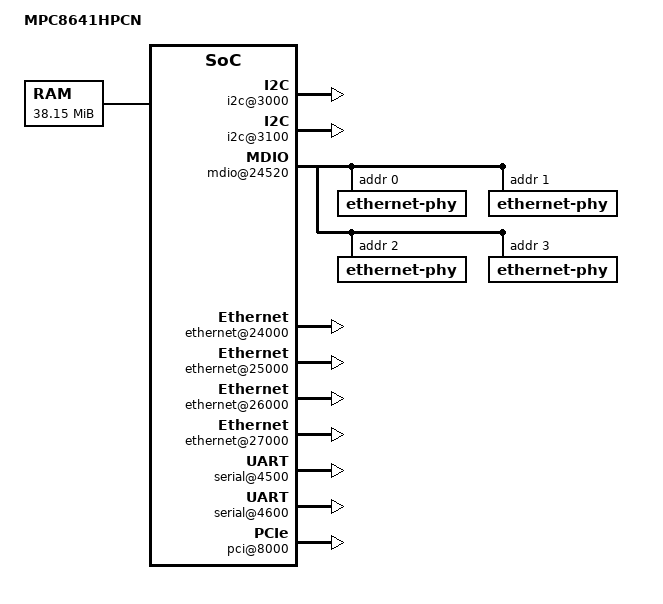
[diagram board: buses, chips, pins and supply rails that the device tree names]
/*
 * MPC8641 HPCN Device Tree Source
 *
 * Copyright 2006 Freescale Semiconductor Inc.
 *
 * This program is free software; you can redistribute  it and/or modify it
 * under  the terms of  the GNU General  Public License as published by the
 * Free Software Foundation;  either version 2 of the  License, or (at your
 * option) any later version.
 */


/ {
	model = "MPC8641HPCN";
	compatible = "mpc86xx";
	#address-cells = <1>;
	#size-cells = <1>;
	linux,phandle = <100>;

	cpus {
		#cpus = <2>;
		#address-cells = <1>;
		#size-cells = <0>;
		linux,phandle = <200>;

		PowerPC,8641@0 {
			device_type = "cpu";
			reg = <0>;
			d-cache-line-size = <20>;	// 32 bytes
			i-cache-line-size = <20>;	// 32 bytes
			d-cache-size = <8000>;		// L1, 32K
			i-cache-size = <8000>;		// L1, 32K
			timebase-frequency = <0>;	// 33 MHz, from uboot
			bus-frequency = <0>;		// From uboot
			clock-frequency = <0>;		// From uboot
			32-bit;
			linux,phandle = <201>;
			linux,boot-cpu;
		};
		PowerPC,8641@1 {
			device_type = "cpu";
			reg = <1>;
			d-cache-line-size = <20>;	// 32 bytes
			i-cache-line-size = <20>;	// 32 bytes
			d-cache-size = <8000>;		// L1, 32K
			i-cache-size = <8000>;		// L1, 32K
			timebase-frequency = <0>;	// 33 MHz, from uboot
			bus-frequency = <0>;		// From uboot
			clock-frequency = <0>;		// From uboot
			32-bit;
			linux,phandle = <202>;
		};
	};

	memory {
		device_type = "memory";
		linux,phandle = <300>;
		reg = <00000000 40000000>;	// 1G at 0x0
	};

	soc8641@f8000000 {
		#address-cells = <1>;
		#size-cells = <1>;
		#interrupt-cells = <2>;
		device_type = "soc";
		ranges = <0 f8000000 00100000>;
		reg = <f8000000 00100000>;	// CCSRBAR 1M
		bus-frequency = <0>;

		i2c@3000 {
			device_type = "i2c";
			compatible = "fsl-i2c";
			reg = <3000 100>;
			interrupts = <2b 0>;
			interrupt-parent = <40000>;
			dfsrr;
		};

		i2c@3100 {
			device_type = "i2c";
			compatible = "fsl-i2c";
			reg = <3100 100>;
			interrupts = <2b 0>;
			interrupt-parent = <40000>;
			dfsrr;
		};

		mdio@24520 {
			#address-cells = <1>;
			#size-cells = <0>;
			device_type = "mdio";
			compatible = "gianfar";
			reg = <24520 20>;
			linux,phandle = <24520>;
			ethernet-phy@0 {
				linux,phandle = <2452000>;
				interrupt-parent = <40000>;
				interrupts = <3a 0>;
				reg = <0>;
				device_type = "ethernet-phy";
			};
			ethernet-phy@1 {
				linux,phandle = <2452001>;
				interrupt-parent = <40000>;
				interrupts = <3a 0>;
				reg = <1>;
				device_type = "ethernet-phy";
			};
			ethernet-phy@2 {
				linux,phandle = <2452002>;
				interrupt-parent = <40000>;
				interrupts = <3a 0>;
				reg = <2>;
				device_type = "ethernet-phy";
			};
			ethernet-phy@3 {
				linux,phandle = <2452003>;
				interrupt-parent = <40000>;
				interrupts = <3a 0>;
				reg = <3>;
				device_type = "ethernet-phy";
			};
		};

		ethernet@24000 {
			#address-cells = <1>;
			#size-cells = <0>;
			device_type = "network";
			model = "TSEC";
			compatible = "gianfar";
			reg = <24000 1000>;
			address = [ 00 E0 0C 00 73 00 ];
			interrupts = <1d 3 1e 3 22 3>;
			interrupt-parent = <40000>;
			phy-handle = <2452000>;
		};

		ethernet@25000 {
			#address-cells = <1>;
			#size-cells = <0>;
			device_type = "network";
			model = "TSEC";
			compatible = "gianfar";
			reg = <25000 1000>;
			address = [ 00 E0 0C 00 73 01 ];
			interrupts = <23 3 24 3 28 3>;
			interrupt-parent = <40000>;
			phy-handle = <2452001>;
		};
		
		ethernet@26000 {
			#address-cells = <1>;
			#size-cells = <0>;
			device_type = "network";
			model = "TSEC";
			compatible = "gianfar";
			reg = <26000 1000>;
			address = [ 00 E0 0C 00 02 FD ];
			interrupts = <1F 3 20 3 21 3>;
			interrupt-parent = <40000>;
			phy-handle = <2452002>;
		};

		ethernet@27000 {
			#address-cells = <1>;
			#size-cells = <0>;
			device_type = "network";
			model = "TSEC";
			compatible = "gianfar";
			reg = <27000 1000>;
			address = [ 00 E0 0C 00 03 FD ];
			interrupts = <25 3 26 3 27 3>;
			interrupt-parent = <40000>;
			phy-handle = <2452003>;
		};
		serial@4500 {
			device_type = "serial";
			compatible = "ns16550"; 
			reg = <4500 100>;
			clock-frequency = <0>;
			interrupts = <2a 3>;
			interrupt-parent = <40000>;
		};

		serial@4600 {
			device_type = "serial";
			compatible = "ns16550";
			reg = <4600 100>;
			clock-frequency = <0>;
			interrupts = <1c 3>;
			interrupt-parent = <40000>;
		};

		pci@8000 {
			compatible = "86xx";
			device_type = "pci";
			linux,phandle = <8000>;
			#interrupt-cells = <1>;
			#size-cells = <2>;
			#address-cells = <3>;
			reg = <8000 1000>;
			bus-range = <0 fe>;
			ranges = <02000000 0 80000000 80000000 0 20000000
				  01000000 0 00000000 e2000000 0 00100000>;
			clock-frequency = <1fca055>;
			interrupt-parent = <40000>;
			interrupts = <8 0>;
			interrupt-map-mask = <f800 0 0 7>;
			interrupt-map = <
				/* IDSEL 0x11 */
				8800 0 0 1 40000 3 0
				8800 0 0 2 40000 4 0
				8800 0 0 3 40000 5 0
				8800 0 0 4 40000 6 0

				/* IDSEL 0x12 */
				9000 0 0 1 40000 4 0
				9000 0 0 2 40000 5 0
				9000 0 0 3 40000 6 0
				9000 0 0 4 40000 3 0

				/* IDSEL 0x13 */
				9800 0 0 1 40000 5 0
				9800 0 0 2 40000 6 0
				9800 0 0 3 40000 3 0
				9800 0 0 4 40000 4 0

				/* IDSEL 0x14 */
				a000 0 0 1 40000 6 0
				a000 0 0 2 40000 3 0
				a000 0 0 3 40000 4 0
				a000 0 0 4 40000 5 0

				/* IDSEL 0x15 */
				a800 0 0 1 40000 0 0
				a800 0 0 2 40000 0 0
				a800 0 0 3 40000 0 0
				a800 0 0 4 40000 0 0

				/* IDSEL 0x16 */
				b000 0 0 1 40000 0 0
				b000 0 0 2 40000 0 0
				b000 0 0 3 40000 0 0
				b000 0 0 4 40000 0 0

				/* IDSEL 0x17 */
				b800 0 0 1 40000 0 0
				b800 0 0 2 40000 0 0
				b800 0 0 3 40000 0 0
				b800 0 0 4 40000 0 0

				/* IDSEL 0x18 */
				c000 0 0 1 40000 0 0
				c000 0 0 2 40000 0 0
				c000 0 0 3 40000 0 0
				c000 0 0 4 40000 0 0

				/* IDSEL 0x19 */
				c800 0 0 1 40000 0 0
				c800 0 0 2 40000 0 0
				c800 0 0 3 40000 0 0
				c800 0 0 4 40000 0 0

				/* IDSEL 0x1a */
				d000 0 0 1 40000 0 0
				d000 0 0 2 40000 0 0
				d000 0 0 3 40000 0 0
				d000 0 0 4 40000 0 0


				/* IDSEL 0x1b */
				d800 0 0 1 40000 0 0
				d800 0 0 2 40000 0 0
				d800 0 0 3 40000 0 0
				d800 0 0 4 40000 0 0

				/* IDSEL 0x1c */
				e000 0 0 1 40000 0 0
				e000 0 0 2 40000 0 0
				e000 0 0 3 40000 0 0
				e000 0 0 4 40000 0 0

				/* IDSEL 0x1d */
				e800 0 0 1 40000 0 0
				e800 0 0 2 40000 0 0
				e800 0 0 3 40000 0 0
				e800 0 0 4 40000 0 0

				/* IDSEL 0x1e */
				f000 0 0 1 40000 0 0
				f000 0 0 2 40000 0 0
				f000 0 0 3 40000 0 0
				f000 0 0 4 40000 0 0

				/* IDSEL 0x1f */
				f800 0 0 1 40000 6 0
				f800 0 0 2 40000 6 0
				f800 0 0 3 40000 6 0
				f800 0 0 4 40000 6 0
				>;
		};
		pic@40000 {
			linux,phandle = <40000>;
			clock-frequency = <0>;
			interrupt-controller;
			#address-cells = <0>;
			#interrupt-cells = <2>;
			reg = <40000 40000>;
			built-in;
			compatible = "chrp,open-pic";
			device_type = "open-pic";
                        big-endian;
		};
	};
};

